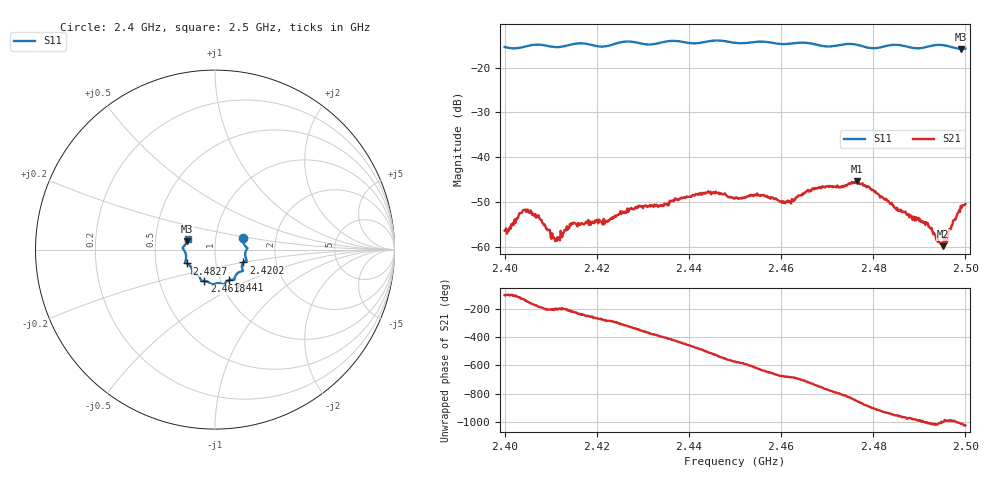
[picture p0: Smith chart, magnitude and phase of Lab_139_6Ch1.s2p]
# Hz S RI R 50
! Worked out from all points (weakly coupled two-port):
!   601 points, 2.4 GHz to 2.5 GHz, reference 50 ohm
!   highest |S21| = -45.35 dB at 2.4765 GHz (marker M1); lowest = -59.9 dB at 2.4952 GHz (marker M2)
!   lowest |S11| = -15.8 dB at 2.499 GHz (marker M3), VSWR 1.39, Z = 36.4 + j3.48 ohm
!   |S11| at or under -10 dB: start of sweep to end of sweep
!   S12 and S22 are empty: the file has one direction only
!   S11 on the Smith chart (normalised r, x): 2.4 GHz: 1.36, +0.18; 2.4202 GHz: 1.36, -0.20; 2.441 GHz: 1.10, -0.39; 2.4618 GHz: 0.84, -0.30; 2.4827 GHz: 0.72, -0.12; 2.5 GHz: 0.73, +0.09
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2.4e9  0.1584 0.063  -0.000393 -0.00146  0 0  0 0
2.4045e9  0.1717 0.0164  -0.00213 -0.00148  0 0  0 0
2.4075e9  0.1807 0.00781  -0.0021 0.000279  0 0  0 0
2.411167e9  0.1688 -0.0182  -0.00116 0.000398  0 0  0 0
2.414667e9  0.1746 -0.0539  -0.0014 0.00118  0 0  0 0
2.416667e9  0.1772 -0.061  -0.000793 0.00166  0 0  0 0
2.420167e9  0.1586 -0.0713  -4.75e-05 0.00201  0 0  0 0
2.428833e9  0.1469 -0.121  0.00275 0.000661  0 0  0 0
2.433333e9  0.1116 -0.1508  0.00241 -0.0014  0 0  0 0
2.441e9  0.0787 -0.1698  -0.00122 -0.00358  0 0  0 0
2.445667e9  0.0507 -0.1947  -0.00379 -0.0011  0 0  0 0
2.45e9  0.0283 -0.1875  -0.00285 0.00198  0 0  0 0
2.454667e9  -0.0109 -0.1945  -0.000691 0.00368  0 0  0 0
2.461833e9  -0.059 -0.1756  0.0026 0.0019  0 0  0 0
2.466667e9  -0.0789 -0.1683  0.00434 -0.000658  0 0  0 0
2.4765e9  -0.1272 -0.1277  -0.00372 -0.00392  0 0  0 0
2.482667e9  -0.1561 -0.0774  -0.00291 0.00185  0 0  0 0
2.483333e9  -0.1605 -0.0753  -0.00257 0.00197  0 0  0 0
2.491333e9  -0.1692 -0.00806  0.000482 0.00168  0 0  0 0
2.495167e9  -0.1783 0.0132  0.000193 0.000997  0 0  0 0
2.499e9  -0.1555 0.0465  0.00113 0.00263  0 0  0 0
2.5e9  -0.1521 0.0607  0.00172 0.00247  0 0  0 0
